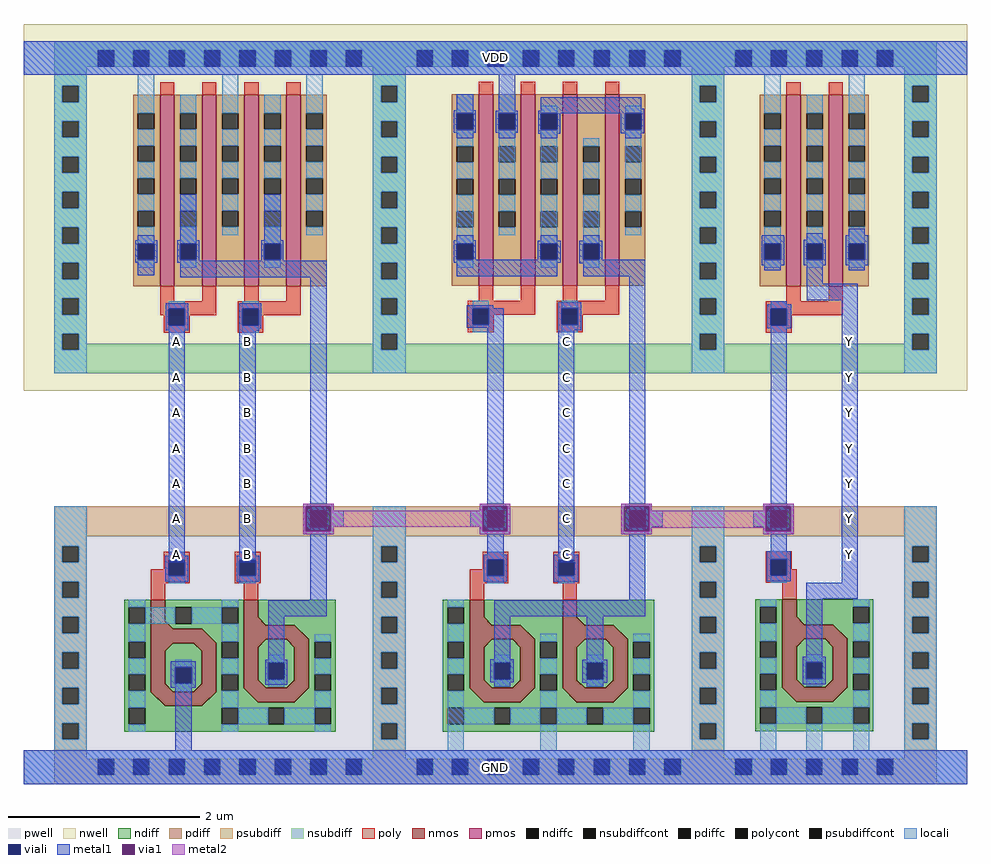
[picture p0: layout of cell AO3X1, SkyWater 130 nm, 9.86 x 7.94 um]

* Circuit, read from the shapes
.subckt AO3X1 Y A B C VDD GND
XM1 n1 A GND GND sky130_fd_pr__nfet_01v8 w=2.6 l=0.1478
XM2 n1 B n2 GND sky130_fd_pr__nfet_01v8 w=2.56 l=0.1465
XM3 GND n2 n3 GND sky130_fd_pr__nfet_01v8 w=2.56 l=0.1463
XM4 GND C n3 GND sky130_fd_pr__nfet_01v8 w=2.56 l=0.1464
XM5 GND n3 Y GND sky130_fd_pr__nfet_01v8 w=2.56 l=0.149
XM6 n2 A VDD VDD sky130_fd_pr__pfet_01v8 w=2 l=0.15 m=2
XM7 n2 B VDD VDD sky130_fd_pr__pfet_01v8 w=2 l=0.15 m=2
XM8 VDD n2 n4 VDD sky130_fd_pr__pfet_01v8 w=2 l=0.15 m=2
XM9 n3 C n4 VDD sky130_fd_pr__pfet_01v8 w=2 l=0.15 m=2
XM10 Y n3 VDD VDD sky130_fd_pr__pfet_01v8 w=2 l=0.15 m=2
.ends

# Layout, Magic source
magic
tech sky130A
magscale 1 2
<< nwell >>
rect 0 1586 1972 1588
rect 0 822 11 1586
rect 1961 1552 1972 1586
rect 155 1499 189 1533
rect 1908 1482 1972 1552
rect 1961 822 1972 1482
<< pwell >>
rect 0 6 64 70
rect 155 19 189 53
rect 1908 6 1972 70
rect 0 0 1972 6
<< psubdiff >>
rect 64 0 1908 6
<< nsubdiff >>
rect 64 1550 1908 1552
rect 80 1546 1386 1550
<< locali >>
rect 0 1482 1972 1552
rect 0 0 1972 70
<< metal1 >>
rect 0 1482 1972 1552
rect 303 907 337 941
rect 451 907 485 941
rect 1117 907 1151 941
rect 1709 907 1743 941
rect 303 833 337 867
rect 451 833 485 867
rect 1117 833 1151 867
rect 1709 833 1743 867
rect 303 759 337 793
rect 451 759 485 793
rect 1117 759 1151 793
rect 1709 759 1743 793
rect 303 685 337 719
rect 451 685 485 719
rect 1117 685 1151 719
rect 1709 685 1743 719
rect 303 611 337 645
rect 451 611 485 645
rect 1117 611 1151 645
rect 1709 611 1743 645
rect 303 537 337 571
rect 451 537 485 571
rect 1117 537 1151 571
rect 1709 537 1743 571
rect 303 463 337 497
rect 451 463 485 497
rect 1117 463 1151 497
rect 1709 463 1743 497
rect 0 0 1972 70
use ao3x1_pcell  ao3x1_pcell_0
transform 1 0 98 0 1 36
box -87 -34 1863 1550
<< labels >>
rlabel metal1 1709 833 1743 867 1 Y
port 1 nsew signal output
rlabel metal1 1709 759 1743 793 1 Y
port 1 nsew signal output
rlabel metal1 1709 685 1743 719 1 Y
port 1 nsew signal output
rlabel metal1 1709 611 1743 645 1 Y
port 1 nsew signal output
rlabel metal1 1709 537 1743 571 1 Y
port 1 nsew signal output
rlabel metal1 1709 463 1743 497 1 Y
port 1 nsew signal output
rlabel metal1 1709 907 1743 941 1 Y
port 1 nsew signal output
rlabel metal1 303 611 337 645 1 A
port 2 nsew signal input
rlabel metal1 303 537 337 571 1 A
port 2 nsew signal input
rlabel metal1 303 463 337 497 1 A
port 2 nsew signal input
rlabel metal1 303 685 337 719 1 A
port 2 nsew signal input
rlabel metal1 303 759 337 793 1 A
port 2 nsew signal input
rlabel metal1 303 833 337 867 1 A
port 2 nsew signal input
rlabel metal1 303 907 337 941 1 A
port 2 nsew signal input
rlabel metal1 451 685 485 719 1 B
port 3 nsew signal input
rlabel metal1 451 611 485 645 1 B
port 3 nsew signal input
rlabel metal1 451 537 485 571 1 B
port 3 nsew signal input
rlabel metal1 451 463 485 497 1 B
port 3 nsew signal input
rlabel metal1 451 759 485 793 1 B
port 3 nsew signal input
rlabel metal1 451 833 485 867 1 B
port 3 nsew signal input
rlabel metal1 451 907 485 941 1 B
port 3 nsew signal input
rlabel metal1 1117 759 1151 793 1 C
port 4 nsew signal input
rlabel metal1 1117 685 1151 719 1 C
port 4 nsew signal input
rlabel metal1 1117 611 1151 645 1 C
port 4 nsew signal input
rlabel metal1 1117 537 1151 571 1 C
port 4 nsew signal input
rlabel metal1 1117 463 1151 497 1 C
port 4 nsew signal input
rlabel metal1 1117 833 1151 867 1 C
port 4 nsew signal input
rlabel metal1 1117 907 1151 941 1 C
port 4 nsew signal input
rlabel metal1 0 1482 1972 1552 1 VDD
port 5 nsew power bidirectional abutment
rlabel metal1 0 0 1972 70 1 GND
port 6 nsew ground bidirectional abutment
<< properties >>
string FIXED_BBOX 0 0 1972 1552
string LEFclass CORE
string LEFsite unitrh
string LEFsymmetry X Y
<< end >>

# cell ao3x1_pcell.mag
magic
tech sky130A
magscale 1 2
<< metal1 >>
rect 1151 544 1215 550
rect 1151 492 1157 544
rect 1209 492 1215 544
rect 1151 486 1215 492
rect 1447 544 1511 550
rect 1447 492 1453 544
rect 1505 492 1511 544
rect 1447 486 1511 492
<< via1 >>
rect 1157 492 1209 544
rect 1453 492 1505 544
<< metal2 >>
rect 1151 544 1215 550
rect 1151 492 1157 544
rect 1209 535 1215 544
rect 1447 544 1511 550
rect 1447 535 1453 544
rect 1209 499 1453 535
rect 1209 492 1215 499
rect 1151 486 1215 492
rect 1447 492 1453 499
rect 1505 492 1511 544
rect 1447 486 1511 492
use aoi3x1_pcell  aoi3x1_pcell_0
transform 1 0 0 0 1 0
box -87 -34 1419 1550
use invx1_pcell  invx1_pcell_0
transform 1 0 1332 0 1 0
box -87 -34 531 1550
use li1_M1_contact  li1_M1_contact_0
transform -1 0 1184 0 -1 518
box -53 -33 29 33
use li1_M1_contact  li1_M1_contact_1
transform 1 0 1480 0 1 518
box -53 -33 29 33
<< end >>

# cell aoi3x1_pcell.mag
magic
tech sky130A
magscale 1 2
<< metal1 >>
rect 486 544 550 550
rect 486 492 492 544
rect 544 492 550 544
rect 486 486 550 492
rect 855 544 919 550
rect 855 492 861 544
rect 913 492 919 544
rect 855 486 919 492
<< via1 >>
rect 492 492 544 544
rect 861 492 913 544
<< metal2 >>
rect 486 544 550 550
rect 486 492 492 544
rect 544 535 550 544
rect 855 544 919 550
rect 855 535 861 544
rect 544 501 861 535
rect 544 492 550 501
rect 486 486 550 492
rect 855 492 861 501
rect 913 492 919 544
rect 855 486 919 492
use li1_M1_contact  li1_M1_contact_0
transform -1 0 518 0 -1 518
box -53 -33 29 33
use li1_M1_contact  li1_M1_contact_1
transform 1 0 888 0 1 518
box -53 -33 29 33
use nand2x1_pcell  nand2x1_pcell_0
transform 1 0 0 0 1 0
box -87 -34 753 1550
use nor2x1_pcell  nor2x1_pcell_0
transform 1 0 666 0 1 0
box -87 -34 753 1550
<< end >>

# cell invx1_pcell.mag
magic
tech sky130A
magscale 1 2
<< nwell >>
rect -87 786 531 1550
<< pwell >>
rect -34 -34 478 544
<< pdiffc >>
rect 118 1059 152 1093
rect 206 1059 240 1093
rect 294 1059 328 1093
<< psubdiff >>
rect 34 482 410 544
rect 34 -17 57 17
rect 91 -17 131 17
rect 165 -17 205 17
rect 239 -17 279 17
rect 313 -17 353 17
rect 387 -17 410 17
rect 34 -34 410 -17
<< nsubdiff >>
rect 34 1497 410 1514
rect 34 1463 57 1497
rect 91 1463 131 1497
rect 165 1463 205 1497
rect 239 1463 279 1497
rect 313 1463 353 1497
rect 387 1463 410 1497
rect 34 822 410 884
<< psubdiffcont >>
rect 57 -17 91 17
rect 131 -17 165 17
rect 205 -17 239 17
rect 279 -17 313 17
rect 353 -17 387 17
<< nsubdiffcont >>
rect 57 1463 91 1497
rect 131 1463 165 1497
rect 205 1463 239 1497
rect 279 1463 313 1497
rect 353 1463 387 1497
<< poly >>
rect 155 381 185 413
<< locali >>
rect -34 1497 478 1514
rect -34 1463 57 1497
rect 91 1463 131 1497
rect 165 1463 205 1497
rect 239 1463 279 1497
rect 313 1463 353 1497
rect 387 1463 478 1497
rect -34 1446 478 1463
rect 118 1093 152 1117
rect 118 1043 152 1059
rect 206 1093 240 1117
rect 206 1043 240 1059
rect 294 1093 328 1117
rect 294 1043 328 1059
rect 109 34 143 84
rect 205 34 239 90
rect 303 34 337 90
rect -34 17 466 34
rect -34 -17 57 17
rect 91 -17 131 17
rect 165 -17 205 17
rect 239 -17 279 17
rect 313 -17 353 17
rect 387 -17 466 17
rect -34 -34 466 -17
<< viali >>
rect 57 1463 91 1497
rect 131 1463 165 1497
rect 205 1463 239 1497
rect 279 1463 313 1497
rect 353 1463 387 1497
rect 118 1059 152 1093
rect 206 1059 240 1093
rect 294 1059 328 1093
rect 131 923 165 957
rect 131 400 165 434
rect 205 184 239 218
rect 57 -17 91 17
rect 131 -17 165 17
rect 205 -17 239 17
rect 279 -17 313 17
rect 353 -17 387 17
<< metal1 >>
rect -34 1497 478 1514
rect -34 1463 57 1497
rect 91 1463 131 1497
rect 165 1463 205 1497
rect 239 1463 279 1497
rect 313 1463 353 1497
rect 387 1463 478 1497
rect -34 1446 478 1463
rect 112 1093 159 1111
rect 206 1101 240 1115
rect 294 1111 328 1124
rect 112 1059 118 1093
rect 152 1059 159 1093
rect 112 1048 159 1059
rect 200 1093 246 1101
rect 200 1059 206 1093
rect 240 1059 246 1093
rect 200 1048 246 1059
rect 288 1093 335 1111
rect 288 1059 294 1093
rect 328 1059 335 1093
rect 288 1048 335 1059
rect 118 1037 152 1048
rect 206 1009 240 1048
rect 294 1037 328 1048
rect 206 975 313 1009
rect 131 966 165 973
rect 124 957 174 966
rect 124 923 131 957
rect 165 923 174 957
rect 124 916 174 923
rect 131 450 165 916
rect 123 434 173 450
rect 123 400 131 434
rect 165 400 173 434
rect 123 388 173 400
rect 279 385 313 975
rect 205 351 313 385
rect 205 230 239 351
rect 198 218 246 230
rect 198 184 205 218
rect 239 184 246 218
rect 198 172 246 184
rect -34 17 478 34
rect -34 -17 57 17
rect 91 -17 131 17
rect 165 -17 205 17
rect 239 -17 279 17
rect 313 -17 353 17
rect 387 -17 478 17
rect -34 -34 478 -17
use diff_ring_side  diff_ring_side_0
transform 1 0 444 0 1 0
box -87 -34 87 1550
use diff_ring_side  diff_ring_side_1
transform 1 0 0 0 1 0
box -87 -34 87 1550
use nmos_top  nmos_top_0
transform -1 0 345 0 1 74
box 0 0 246 308
use pmos2  pmos2_0
transform 1 0 20 0 1 1404
box 52 -461 352 42
use poly_li1_contact  poly_li1_contact_0
transform 0 1 149 -1 0 941
box -32 -28 34 26
use poly_li1_contact  poly_li1_contact_1
transform 0 -1 147 1 0 416
box -32 -28 34 26
<< end >>

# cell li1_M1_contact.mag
magic
tech sky130A
magscale 1 2
<< locali >>
rect -17 17 17 33
rect -17 -33 17 -17
<< viali >>
rect -17 -17 17 17
<< metal1 >>
rect -23 17 23 23
rect -53 -17 -17 17
rect 17 -17 29 17
rect -23 -23 23 -17
<< end >>

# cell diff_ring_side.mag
magic
tech sky130A
magscale 1 2
<< nwell >>
rect -87 786 87 1550
<< pwell >>
rect -34 -34 34 544
<< psubdiff >>
rect -34 461 34 544
rect -34 427 -17 461
rect 17 427 34 461
rect -34 387 34 427
rect -34 353 -17 387
rect 17 353 34 387
rect -34 313 34 353
rect -34 279 -17 313
rect 17 279 34 313
rect -34 239 34 279
rect -34 205 -17 239
rect 17 205 34 239
rect -34 165 34 205
rect -34 131 -17 165
rect 17 131 34 165
rect -34 91 34 131
rect -34 57 -17 91
rect 17 57 34 91
rect -34 -34 34 57
<< nsubdiff >>
rect -34 1423 34 1514
rect -34 1389 -17 1423
rect 17 1389 34 1423
rect -34 1349 34 1389
rect -34 1315 -17 1349
rect 17 1315 34 1349
rect -34 1275 34 1315
rect -34 1241 -17 1275
rect 17 1241 34 1275
rect -34 1201 34 1241
rect -34 1167 -17 1201
rect 17 1167 34 1201
rect -34 1127 34 1167
rect -34 1093 -17 1127
rect 17 1093 34 1127
rect -34 1053 34 1093
rect -34 1019 -17 1053
rect 17 1019 34 1053
rect -34 979 34 1019
rect -34 945 -17 979
rect 17 945 34 979
rect -34 905 34 945
rect -34 871 -17 905
rect 17 871 34 905
rect -34 822 34 871
<< psubdiffcont >>
rect -17 427 17 461
rect -17 353 17 387
rect -17 279 17 313
rect -17 205 17 239
rect -17 131 17 165
rect -17 57 17 91
<< nsubdiffcont >>
rect -17 1389 17 1423
rect -17 1315 17 1349
rect -17 1241 17 1275
rect -17 1167 17 1201
rect -17 1093 17 1127
rect -17 1019 17 1053
rect -17 945 17 979
rect -17 871 17 905
<< locali >>
rect -34 1423 34 1514
rect -34 1389 -17 1423
rect 17 1389 34 1423
rect -34 1349 34 1389
rect -34 1315 -17 1349
rect 17 1315 34 1349
rect -34 1275 34 1315
rect -34 1241 -17 1275
rect 17 1241 34 1275
rect -34 1201 34 1241
rect -34 1167 -17 1201
rect 17 1167 34 1201
rect -34 1127 34 1167
rect -34 1093 -17 1127
rect 17 1093 34 1127
rect -34 1053 34 1093
rect -34 1019 -17 1053
rect 17 1019 34 1053
rect -34 979 34 1019
rect -34 945 -17 979
rect 17 945 34 979
rect -34 905 34 945
rect -34 871 -17 905
rect 17 871 34 905
rect -34 822 34 871
rect -34 461 34 544
rect -34 427 -17 461
rect 17 427 34 461
rect -34 387 34 427
rect -34 353 -17 387
rect 17 353 34 387
rect -34 313 34 353
rect -34 279 -17 313
rect 17 279 34 313
rect -34 239 34 279
rect -34 205 -17 239
rect 17 205 34 239
rect -34 165 34 205
rect -34 131 -17 165
rect 17 131 34 165
rect -34 91 34 131
rect -34 57 -17 91
rect 17 57 34 91
rect -34 -34 34 57
<< metal1 >>
rect -34 1446 34 1514
rect -34 -34 34 34
<< end >>

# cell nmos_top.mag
magic
tech sky130
magscale 1 2
<< nmos >>
tri 144 223 160 239 se
rect 160 223 190 276
tri 54 193 84 223 se
rect 84 193 190 223
rect 54 92 84 193
tri 84 177 100 193 nw
tri 144 177 160 193 ne
tri 84 92 100 108 sw
tri 144 92 160 108 se
rect 160 92 190 193
tri 54 62 84 92 ne
rect 84 62 160 92
tri 160 62 190 92 nw
<< ndiff >>
rect 0 260 160 276
rect 0 226 8 260
rect 42 239 160 260
rect 42 226 144 239
rect 0 223 144 226
tri 144 223 160 239 nw
rect 190 260 246 276
rect 190 226 202 260
rect 236 226 246 260
rect 0 188 54 223
tri 54 193 84 223 nw
rect 0 154 8 188
rect 42 154 54 188
rect 0 120 54 154
rect 0 86 8 120
rect 42 86 54 120
tri 84 177 100 193 se
rect 100 177 144 193
tri 144 177 160 193 sw
rect 84 144 160 177
rect 84 110 106 144
rect 140 110 160 144
rect 84 108 160 110
tri 84 92 100 108 ne
rect 100 92 144 108
tri 144 92 160 108 nw
rect 190 188 246 226
rect 190 154 202 188
rect 236 154 246 188
rect 190 120 246 154
rect 0 62 54 86
tri 54 62 84 92 sw
tri 160 62 190 92 se
rect 190 86 202 120
rect 236 86 246 120
rect 190 62 246 86
rect 0 50 246 62
rect 0 16 8 50
rect 42 16 106 50
rect 140 16 202 50
rect 236 16 246 50
rect 0 0 246 16
<< ndiffc >>
rect 8 226 42 260
rect 202 226 236 260
rect 8 154 42 188
rect 8 86 42 120
rect 106 110 140 144
rect 202 154 236 188
rect 202 86 236 120
rect 8 16 42 50
rect 106 16 140 50
rect 202 16 236 50
<< poly >>
rect 160 276 190 308
<< locali >>
rect 8 260 42 276
rect 8 188 42 226
rect 202 260 236 276
rect 202 188 236 226
rect 8 120 42 154
rect 106 144 140 161
rect 106 94 140 110
rect 202 120 236 154
rect 8 50 42 86
rect 202 50 236 86
rect 42 16 106 50
rect 140 16 202 50
rect 8 0 42 16
rect 202 0 236 16
<< end >>

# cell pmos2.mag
magic
tech sky130A
magscale 1 2
<< nwell >>
rect 52 -436 352 36
<< pmos >>
rect 144 -400 174 0
rect 232 -400 262 0
<< pdiff >>
rect 88 -38 144 0
rect 88 -72 98 -38
rect 132 -72 144 -38
rect 88 -106 144 -72
rect 88 -140 98 -106
rect 132 -140 144 -106
rect 88 -174 144 -140
rect 88 -208 98 -174
rect 132 -208 144 -174
rect 88 -242 144 -208
rect 88 -276 98 -242
rect 132 -276 144 -242
rect 88 -400 144 -276
rect 174 -38 232 0
rect 174 -72 186 -38
rect 220 -72 232 -38
rect 174 -106 232 -72
rect 174 -140 186 -106
rect 220 -140 232 -106
rect 174 -174 232 -140
rect 174 -208 186 -174
rect 220 -208 232 -174
rect 174 -242 232 -208
rect 174 -276 186 -242
rect 220 -276 232 -242
rect 174 -400 232 -276
rect 262 -38 316 0
rect 262 -72 274 -38
rect 308 -72 316 -38
rect 262 -106 316 -72
rect 262 -140 274 -106
rect 308 -140 316 -106
rect 262 -174 316 -140
rect 262 -208 274 -174
rect 308 -208 316 -174
rect 262 -242 316 -208
rect 262 -276 274 -242
rect 308 -276 316 -242
rect 262 -400 316 -276
<< pdiffc >>
rect 98 -72 132 -38
rect 98 -140 132 -106
rect 98 -208 132 -174
rect 98 -276 132 -242
rect 186 -72 220 -38
rect 186 -140 220 -106
rect 186 -208 220 -174
rect 186 -276 220 -242
rect 274 -72 308 -38
rect 274 -140 308 -106
rect 274 -208 308 -174
rect 274 -276 308 -242
<< poly >>
rect 144 0 174 26
rect 232 0 262 26
rect 144 -431 174 -400
rect 232 -431 262 -400
rect 144 -461 262 -431
<< locali >>
rect 98 -38 132 42
rect 98 -106 132 -72
rect 98 -174 132 -140
rect 98 -242 132 -208
rect 98 -293 132 -276
rect 186 -38 220 0
rect 186 -106 220 -72
rect 186 -174 220 -140
rect 186 -242 220 -208
rect 186 -293 220 -276
rect 274 -38 308 42
rect 274 -106 308 -72
rect 274 -174 308 -140
rect 274 -242 308 -208
rect 274 -293 308 -276
<< end >>

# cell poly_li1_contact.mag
magic
tech sky130
<< poly >>
rect -16 8 17 13
rect -16 -9 -8 8
rect 9 -9 17 8
rect -16 -14 17 -9
<< polycont >>
rect -8 -9 9 8
<< locali >>
rect -16 -9 -8 8
rect 9 -9 17 8
<< end >>

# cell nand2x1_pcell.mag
magic
tech sky130A
magscale 1 2
<< nwell >>
rect 87 786 579 1550
<< pwell >>
rect 34 542 632 544
rect -31 -30 697 542
rect 34 -34 632 -30
<< pdiff >>
rect 223 1093 269 1100
rect 223 1059 229 1093
rect 263 1059 269 1093
rect 223 1053 269 1059
rect 399 1093 445 1100
rect 399 1059 405 1093
rect 439 1059 445 1093
rect 399 1053 445 1059
<< pdiffc >>
rect 141 1059 175 1093
rect 229 1059 263 1093
rect 405 1059 439 1093
<< psubdiff >>
rect 34 542 632 544
rect 31 482 635 542
rect 31 480 34 482
rect 632 480 635 482
rect 31 -17 57 17
rect 91 -17 131 17
rect 165 -17 205 17
rect 239 -17 279 17
rect 313 -17 353 17
rect 387 -17 427 17
rect 461 -17 501 17
rect 535 -17 575 17
rect 609 -17 635 17
rect 31 -30 635 -17
rect 34 -34 632 -30
<< nsubdiff >>
rect 34 1497 632 1514
rect 34 1463 57 1497
rect 91 1463 131 1497
rect 165 1463 205 1497
rect 239 1463 279 1497
rect 313 1463 353 1497
rect 387 1463 427 1497
rect 461 1463 501 1497
rect 535 1463 575 1497
rect 609 1463 632 1497
rect 34 822 632 884
<< psubdiffcont >>
rect 57 -17 91 17
rect 131 -17 165 17
rect 205 -17 239 17
rect 279 -17 313 17
rect 353 -17 387 17
rect 427 -17 461 17
rect 501 -17 535 17
rect 575 -17 609 17
<< nsubdiffcont >>
rect 57 1463 91 1497
rect 131 1463 165 1497
rect 205 1463 239 1497
rect 279 1463 313 1497
rect 353 1463 387 1497
rect 427 1463 461 1497
rect 501 1463 535 1497
rect 575 1463 609 1497
<< poly >>
rect 168 375 198 413
rect 362 382 392 383
<< locali >>
rect -34 1497 634 1514
rect -34 1463 57 1497
rect 91 1463 131 1497
rect 165 1463 205 1497
rect 239 1463 279 1497
rect 313 1463 353 1497
rect 387 1463 427 1497
rect 461 1463 501 1497
rect 535 1463 575 1497
rect 609 1463 634 1497
rect -34 1446 634 1463
rect 141 1093 175 1122
rect 141 1043 175 1059
rect 229 1093 263 1122
rect 229 1043 263 1059
rect 405 1093 439 1122
rect 405 1043 439 1059
rect 33 17 659 34
rect 33 -17 57 17
rect 91 -17 131 17
rect 165 -17 205 17
rect 239 -17 279 17
rect 313 -17 353 17
rect 387 -17 427 17
rect 461 -17 501 17
rect 535 -17 575 17
rect 609 -17 659 17
rect 33 -34 659 -17
<< viali >>
rect 57 1463 91 1497
rect 131 1463 165 1497
rect 205 1463 239 1497
rect 279 1463 313 1497
rect 353 1463 387 1497
rect 427 1463 461 1497
rect 501 1463 535 1497
rect 575 1463 609 1497
rect 141 1059 175 1093
rect 229 1059 263 1093
rect 405 1059 439 1093
rect 205 923 239 957
rect 359 923 393 957
rect 205 399 239 433
rect 353 399 387 433
rect 219 174 253 208
rect 413 183 447 217
rect 57 -17 91 17
rect 131 -17 165 17
rect 205 -17 239 17
rect 279 -17 313 17
rect 353 -17 387 17
rect 427 -17 461 17
rect 501 -17 535 17
rect 575 -17 609 17
<< metal1 >>
rect -34 1497 700 1514
rect -34 1463 57 1497
rect 91 1463 131 1497
rect 165 1463 205 1497
rect 239 1463 279 1497
rect 313 1463 353 1497
rect 387 1463 427 1497
rect 461 1463 501 1497
rect 535 1463 575 1497
rect 609 1463 700 1497
rect -34 1446 700 1463
rect 141 1100 175 1111
rect 229 1100 263 1196
rect 405 1100 439 1196
rect 135 1093 181 1100
rect 135 1059 141 1093
rect 175 1059 181 1093
rect 135 1053 181 1059
rect 223 1093 269 1100
rect 223 1059 229 1093
rect 263 1059 269 1093
rect 223 1057 269 1059
rect 399 1093 445 1100
rect 399 1059 405 1093
rect 439 1059 445 1093
rect 399 1057 445 1059
rect 223 1053 535 1057
rect 141 1027 175 1053
rect 229 1023 535 1053
rect 199 957 246 969
rect 199 923 205 957
rect 239 923 246 957
rect 199 912 246 923
rect 353 957 399 969
rect 353 923 359 957
rect 393 923 399 957
rect 353 916 399 923
rect 205 441 239 912
rect 353 911 394 916
rect 353 441 387 911
rect 198 433 246 441
rect 198 399 205 433
rect 239 399 246 433
rect 198 387 246 399
rect 347 433 394 441
rect 347 399 353 433
rect 387 399 394 433
rect 347 387 394 399
rect 501 348 535 1023
rect 413 314 535 348
rect 413 224 447 314
rect 209 208 262 220
rect 209 174 219 208
rect 253 174 262 208
rect 209 165 262 174
rect 407 217 453 224
rect 407 183 413 217
rect 447 183 453 217
rect 407 171 453 183
rect 219 34 253 165
rect -34 17 700 34
rect -34 -17 57 17
rect 91 -17 131 17
rect 165 -17 205 17
rect 239 -17 279 17
rect 313 -17 353 17
rect 387 -17 427 17
rect 461 -17 501 17
rect 535 -17 575 17
rect 609 -17 700 17
rect -34 -34 700 -17
use diff_ring_side  diff_ring_side_0
transform 1 0 666 0 1 0
box -87 -34 87 1550
use diff_ring_side  diff_ring_side_1
transform 1 0 0 0 1 0
box -87 -34 87 1550
use nmos_bottom  nmos_bottom_0
transform -1 0 360 0 1 73
box 0 0 248 302
use nmos_top_trim1  nmos_top_trim1_0
transform -1 0 554 0 1 73
box 0 0 248 309
use pmos2  pmos2_0
transform 1 0 43 0 1 1404
box 52 -461 352 42
use pmos2  pmos2_1
transform 1 0 219 0 1 1404
box 52 -461 352 42
use poly_li1_contact  poly_li1_contact_0
transform 0 1 223 -1 0 941
box -32 -28 34 26
use poly_li1_contact  poly_li1_contact_1
transform 0 1 223 -1 0 417
box -32 -28 34 26
use poly_li1_contact  poly_li1_contact_2
transform 0 -1 369 1 0 415
box -32 -28 34 26
use poly_li1_contact  poly_li1_contact_3
transform 0 1 377 -1 0 941
box -32 -28 34 26
<< end >>

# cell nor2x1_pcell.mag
magic
tech sky130A
magscale 1 2
<< nwell >>
rect 87 786 579 1550
<< pwell >>
rect 34 -34 632 544
<< pdiff >>
rect 141 1043 175 1059
rect 317 1043 351 1050
rect 405 1043 439 1050
<< pdiffc >>
rect 141 1331 175 1365
rect 229 1331 263 1365
rect 317 1331 351 1365
rect 493 1331 527 1365
rect 141 1059 175 1093
rect 317 1059 351 1093
rect 405 1059 439 1093
<< psubdiff >>
rect 34 482 632 544
rect 34 -17 57 17
rect 91 -17 131 17
rect 165 -17 205 17
rect 239 -17 279 17
rect 313 -17 353 17
rect 387 -17 427 17
rect 461 -17 501 17
rect 535 -17 575 17
rect 609 -17 632 17
rect 34 -34 632 -17
<< nsubdiff >>
rect 34 1497 632 1514
rect 34 1463 57 1497
rect 91 1463 131 1497
rect 165 1463 205 1497
rect 239 1463 279 1497
rect 313 1463 353 1497
rect 387 1463 427 1497
rect 461 1463 501 1497
rect 535 1463 575 1497
rect 609 1463 632 1497
rect 34 822 632 884
<< psubdiffcont >>
rect 57 -17 91 17
rect 131 -17 165 17
rect 205 -17 239 17
rect 279 -17 313 17
rect 353 -17 387 17
rect 427 -17 461 17
rect 501 -17 535 17
rect 575 -17 609 17
<< nsubdiffcont >>
rect 57 1463 91 1497
rect 131 1463 165 1497
rect 205 1463 239 1497
rect 279 1463 313 1497
rect 353 1463 387 1497
rect 427 1463 461 1497
rect 501 1463 535 1497
rect 575 1463 609 1497
<< poly >>
rect 168 375 198 413
rect 362 382 392 383
<< locali >>
rect -34 1497 667 1514
rect -34 1463 57 1497
rect 91 1463 131 1497
rect 165 1463 205 1497
rect 239 1463 279 1497
rect 313 1463 353 1497
rect 387 1463 427 1497
rect 461 1463 501 1497
rect 535 1463 575 1497
rect 609 1463 667 1497
rect -34 1446 667 1463
rect 141 1365 175 1405
rect 141 1312 175 1331
rect 229 1365 263 1405
rect 229 1229 263 1331
rect 317 1365 351 1381
rect 317 1229 351 1331
rect 493 1365 527 1381
rect 493 1229 527 1331
rect 141 1093 175 1195
rect 141 1043 175 1059
rect 317 1093 351 1195
rect 317 1043 351 1059
rect 405 1093 439 1195
rect 405 1043 439 1059
rect 122 34 156 157
rect 316 34 350 89
rect 510 34 544 89
rect 33 17 657 34
rect 33 -17 57 17
rect 91 -17 131 17
rect 165 -17 205 17
rect 239 -17 279 17
rect 313 -17 353 17
rect 387 -17 427 17
rect 461 -17 501 17
rect 535 -17 575 17
rect 609 -17 657 17
rect 33 -34 657 -17
<< viali >>
rect 57 1463 91 1497
rect 131 1463 165 1497
rect 205 1463 239 1497
rect 279 1463 313 1497
rect 353 1463 387 1497
rect 427 1463 461 1497
rect 501 1463 535 1497
rect 575 1463 609 1497
rect 141 1331 175 1365
rect 229 1331 263 1365
rect 317 1331 351 1365
rect 493 1331 527 1365
rect 141 1059 175 1093
rect 317 1059 351 1093
rect 405 1059 439 1093
rect 174 924 208 958
rect 360 924 394 958
rect 205 399 239 433
rect 353 399 387 433
rect 219 183 253 217
rect 413 183 447 217
rect 57 -17 91 17
rect 131 -17 165 17
rect 205 -17 239 17
rect 279 -17 313 17
rect 353 -17 387 17
rect 427 -17 461 17
rect 501 -17 535 17
rect 575 -17 609 17
<< metal1 >>
rect 34 1497 632 1514
rect 34 1463 57 1497
rect 91 1463 131 1497
rect 165 1463 205 1497
rect 239 1463 279 1497
rect 313 1463 353 1497
rect 387 1463 427 1497
rect 461 1463 501 1497
rect 535 1463 575 1497
rect 609 1463 632 1497
rect 34 1446 632 1463
rect 141 1372 175 1405
rect 135 1365 181 1372
rect 229 1371 263 1446
rect 317 1375 527 1399
rect 317 1371 533 1375
rect 135 1331 141 1365
rect 175 1331 181 1365
rect 135 1325 181 1331
rect 223 1365 269 1371
rect 223 1331 229 1365
rect 263 1331 269 1365
rect 223 1325 269 1331
rect 311 1365 533 1371
rect 311 1331 317 1365
rect 351 1331 357 1365
rect 141 1313 175 1325
rect 229 1313 263 1325
rect 311 1323 357 1331
rect 484 1331 493 1365
rect 527 1331 533 1365
rect 484 1324 533 1331
rect 317 1313 351 1323
rect 493 1313 527 1324
rect 141 1100 175 1111
rect 135 1093 181 1100
rect 317 1099 351 1111
rect 405 1099 439 1111
rect 135 1059 141 1093
rect 175 1059 181 1093
rect 310 1093 358 1099
rect 310 1059 317 1093
rect 351 1059 358 1093
rect 135 1053 358 1059
rect 397 1093 445 1099
rect 397 1059 405 1093
rect 439 1059 445 1093
rect 141 1025 351 1053
rect 397 1052 535 1059
rect 405 1025 535 1052
rect 162 958 217 964
rect 353 958 401 971
rect 162 924 174 958
rect 208 924 239 958
rect 162 917 239 924
rect 205 443 239 917
rect 353 924 360 958
rect 394 924 401 958
rect 353 912 401 924
rect 353 443 387 912
rect 197 433 246 443
rect 197 399 205 433
rect 239 399 246 433
rect 197 387 246 399
rect 344 433 395 443
rect 344 399 353 433
rect 387 399 395 433
rect 344 387 395 399
rect 501 348 535 1025
rect 219 314 535 348
rect 219 225 253 314
rect 211 217 260 225
rect 413 224 447 314
rect 211 183 219 217
rect 253 183 260 217
rect 211 177 260 183
rect 403 217 456 224
rect 403 183 413 217
rect 447 183 456 217
rect 219 167 253 177
rect 403 176 456 183
rect 413 167 447 176
rect 34 17 632 34
rect 34 -17 57 17
rect 91 -17 131 17
rect 165 -17 205 17
rect 239 -17 279 17
rect 313 -17 353 17
rect 387 -17 427 17
rect 461 -17 501 17
rect 535 -17 575 17
rect 609 -17 632 17
rect 34 -34 632 -17
use diff_ring_side  diff_ring_side_0
transform 1 0 666 0 1 0
box -87 -34 87 1550
use diff_ring_side  diff_ring_side_1
transform 1 0 0 0 1 0
box -87 -34 87 1550
use nmos_top_trim1  nmos_top_trim1_1
transform -1 0 360 0 1 73
box 0 0 248 309
use nmos_top_trim2  nmos_top_trim2_0
transform -1 0 554 0 1 73
box 0 0 248 309
use pmos2_1  pmos2_1_0
transform 1 0 43 0 1 1404
box 52 -460 352 37
use pmos2_1  pmos2_1_1
transform 1 0 219 0 1 1404
box 52 -460 352 37
use poly_li1_contact  poly_li1_contact_0
transform 0 1 192 -1 0 942
box -32 -28 34 26
use poly_li1_contact  poly_li1_contact_1
transform 0 1 223 -1 0 417
box -32 -28 34 26
use poly_li1_contact  poly_li1_contact_2
transform 0 -1 369 1 0 415
box -32 -28 34 26
use poly_li1_contact  poly_li1_contact_3
transform 0 1 378 -1 0 942
box -32 -28 34 26
<< end >>

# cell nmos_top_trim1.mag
magic
tech sky130
magscale 1 2
<< nmos >>
tri 146 223 162 239 se
rect 162 223 192 276
tri 56 193 86 223 se
rect 86 193 192 223
rect 56 92 86 193
tri 86 177 102 193 nw
tri 146 177 162 193 ne
tri 86 92 102 108 sw
tri 146 92 162 108 se
rect 162 92 192 193
tri 56 62 86 92 ne
rect 86 62 162 92
tri 162 62 192 92 nw
<< ndiff >>
rect 0 239 162 276
rect 0 223 146 239
tri 146 223 162 239 nw
rect 192 260 248 276
rect 192 226 204 260
rect 238 226 248 260
rect 0 188 56 223
tri 56 193 86 223 nw
rect 0 154 10 188
rect 44 154 56 188
rect 0 120 56 154
rect 0 86 10 120
rect 44 86 56 120
tri 86 177 102 193 se
rect 102 177 146 193
tri 146 177 162 193 sw
rect 86 144 162 177
rect 86 110 107 144
rect 141 110 162 144
rect 86 108 162 110
tri 86 92 102 108 ne
rect 102 92 146 108
tri 146 92 162 108 nw
rect 192 188 248 226
rect 192 154 204 188
rect 238 154 248 188
rect 192 120 248 154
rect 0 62 56 86
tri 56 62 86 92 sw
tri 162 62 192 92 se
rect 192 86 204 120
rect 238 86 248 120
rect 192 62 248 86
rect 0 50 248 62
rect 0 16 10 50
rect 44 16 107 50
rect 141 16 204 50
rect 238 16 248 50
rect 0 0 248 16
<< ndiffc >>
rect 204 226 238 260
rect 10 154 44 188
rect 10 86 44 120
rect 107 110 141 144
rect 204 154 238 188
rect 204 86 238 120
rect 10 16 44 50
rect 107 16 141 50
rect 204 16 238 50
<< poly >>
rect 162 276 192 309
<< locali >>
rect 204 260 238 276
rect 10 188 44 204
rect 204 188 238 226
rect 10 120 44 154
rect 107 144 141 161
rect 107 94 141 110
rect 204 120 238 154
rect 10 50 44 86
rect 204 50 238 86
rect 44 16 107 50
rect 141 16 204 50
rect 10 0 44 16
rect 204 0 238 16
<< end >>

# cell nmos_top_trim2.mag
magic
tech sky130
magscale 1 2
<< nmos >>
tri 146 223 162 239 se
rect 162 223 192 276
tri 56 193 86 223 se
rect 86 193 192 223
rect 56 178 87 193
tri 87 178 102 193 nw
tri 146 178 161 193 ne
rect 161 178 192 193
rect 56 92 86 178
tri 86 92 102 108 sw
tri 146 92 162 108 se
rect 162 92 192 178
tri 56 62 86 92 ne
rect 86 62 162 92
tri 162 62 192 92 nw
<< ndiff >>
rect 0 239 162 276
rect 0 223 146 239
tri 146 223 162 239 nw
rect 0 188 56 223
tri 56 193 86 223 nw
rect 0 154 10 188
rect 44 154 56 188
tri 87 178 102 193 se
rect 102 178 146 193
tri 146 178 161 193 sw
rect 192 188 248 276
rect 0 120 56 154
rect 0 86 10 120
rect 44 86 56 120
rect 86 144 162 178
rect 86 110 107 144
rect 141 110 162 144
rect 86 108 162 110
tri 86 92 102 108 ne
rect 102 92 146 108
tri 146 92 162 108 nw
rect 192 154 204 188
rect 238 154 248 188
rect 192 120 248 154
rect 0 62 56 86
tri 56 62 86 92 sw
tri 162 62 192 92 se
rect 192 86 204 120
rect 238 86 248 120
rect 192 62 248 86
rect 0 50 248 62
rect 0 16 10 50
rect 44 16 107 50
rect 141 16 204 50
rect 238 16 248 50
rect 0 0 248 16
<< ndiffc >>
rect 10 154 44 188
rect 10 86 44 120
rect 107 110 141 144
rect 204 154 238 188
rect 204 86 238 120
rect 10 16 44 50
rect 107 16 141 50
rect 204 16 238 50
<< poly >>
rect 162 276 192 309
<< locali >>
rect 10 188 44 205
rect 204 188 238 205
rect 10 120 44 154
rect 107 144 141 161
rect 107 94 141 110
rect 204 120 238 154
rect 10 50 44 86
rect 204 50 238 86
rect 44 16 107 50
rect 141 16 204 50
rect 10 0 44 16
rect 204 0 238 16
<< end >>

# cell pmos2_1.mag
magic
tech sky130A
magscale 1 2
<< nwell >>
rect 52 -435 352 37
<< pmos >>
rect 144 -399 174 1
rect 232 -399 262 1
<< pdiff >>
rect 88 -107 144 1
rect 88 -141 98 -107
rect 132 -141 144 -107
rect 88 -175 144 -141
rect 88 -209 98 -175
rect 132 -209 144 -175
rect 88 -243 144 -209
rect 88 -277 98 -243
rect 132 -277 144 -243
rect 88 -399 144 -277
rect 174 -107 232 1
rect 174 -141 186 -107
rect 220 -141 232 -107
rect 174 -175 232 -141
rect 174 -209 186 -175
rect 220 -209 232 -175
rect 174 -243 232 -209
rect 174 -277 186 -243
rect 220 -277 232 -243
rect 174 -399 232 -277
rect 262 -107 316 1
rect 262 -141 274 -107
rect 308 -141 316 -107
rect 262 -175 316 -141
rect 262 -209 274 -175
rect 308 -209 316 -175
rect 262 -243 316 -209
rect 262 -277 274 -243
rect 308 -277 316 -243
rect 262 -399 316 -277
<< pdiffc >>
rect 98 -141 132 -107
rect 98 -209 132 -175
rect 98 -277 132 -243
rect 186 -141 220 -107
rect 186 -209 220 -175
rect 186 -277 220 -243
rect 274 -141 308 -107
rect 274 -209 308 -175
rect 274 -277 308 -243
<< poly >>
rect 144 1 174 27
rect 232 1 262 27
rect 144 -430 174 -399
rect 232 -430 262 -399
rect 144 -460 262 -430
<< locali >>
rect 98 -107 132 -91
rect 98 -175 132 -141
rect 98 -243 132 -209
rect 98 -293 132 -277
rect 186 -107 220 -91
rect 186 -175 220 -141
rect 186 -243 220 -209
rect 186 -293 220 -277
rect 274 -107 308 -91
rect 274 -175 308 -141
rect 274 -243 308 -209
rect 274 -293 308 -277
<< end >>

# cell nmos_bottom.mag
magic
tech sky130A
magscale 1 2
<< nmos >>
tri 146 215 162 231 se
rect 162 215 192 276
tri 56 185 86 215 se
rect 86 185 192 215
rect 56 84 86 185
tri 86 169 102 185 nw
tri 146 169 162 185 ne
tri 86 84 102 100 sw
tri 146 84 162 100 se
rect 162 84 192 185
tri 56 54 86 84 ne
rect 86 54 162 84
tri 162 54 192 84 nw
<< ndiff >>
rect 0 260 162 276
rect 0 226 10 260
rect 44 226 107 260
rect 141 231 162 260
rect 141 226 146 231
rect 0 215 146 226
tri 146 215 162 231 nw
rect 192 260 248 276
rect 192 226 204 260
rect 238 226 248 260
rect 0 188 56 215
rect 0 154 10 188
rect 44 154 56 188
tri 56 185 86 215 nw
rect 192 188 248 226
rect 0 120 56 154
rect 0 86 10 120
rect 44 86 56 120
rect 0 54 56 86
tri 86 169 102 185 se
rect 102 169 146 185
tri 146 169 162 185 sw
rect 86 135 162 169
rect 86 101 107 135
rect 141 101 162 135
rect 86 100 162 101
tri 86 84 102 100 ne
rect 102 84 146 100
tri 146 84 162 100 nw
rect 192 154 204 188
rect 238 154 248 188
rect 192 120 248 154
rect 192 86 204 120
rect 238 86 248 120
tri 56 54 86 84 sw
tri 162 54 192 84 se
rect 192 54 248 86
rect 0 50 248 54
rect 0 16 10 50
rect 44 16 204 50
rect 238 16 248 50
rect 0 0 248 16
<< ndiffc >>
rect 10 226 44 260
rect 107 226 141 260
rect 204 226 238 260
rect 10 154 44 188
rect 10 86 44 120
rect 107 101 141 135
rect 204 154 238 188
rect 204 86 238 120
rect 10 16 44 50
rect 204 16 238 50
<< poly >>
rect 162 276 192 302
<< locali >>
rect 10 260 44 276
rect 204 260 238 276
rect 44 226 107 260
rect 141 226 204 260
rect 10 188 44 226
rect 10 120 44 154
rect 204 188 238 226
rect 10 50 44 86
rect 107 135 141 151
rect 107 85 141 101
rect 204 120 238 154
rect 10 0 44 16
rect 204 50 238 86
rect 204 0 238 16
<< end >>
